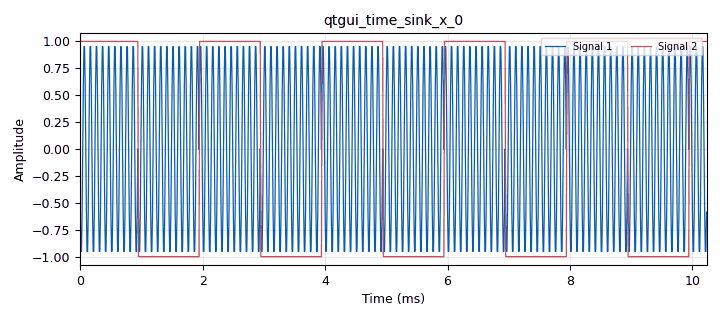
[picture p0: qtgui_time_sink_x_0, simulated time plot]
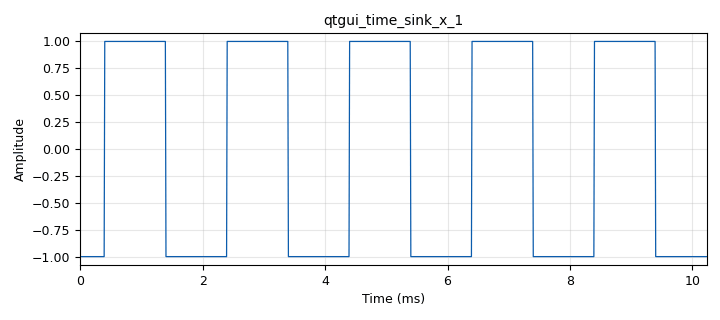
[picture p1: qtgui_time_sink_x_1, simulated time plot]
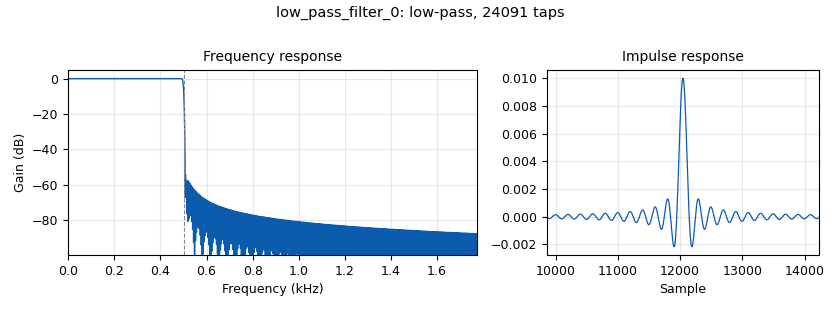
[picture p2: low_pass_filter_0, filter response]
options:
  parameters:
    generate_options: qt_gui
    id: BPSK
    output_language: python
    title: Not titled yet
  states: {}

blocks:
- name: samp_rate
  id: variable
  parameters:
    value: '100000'
  states: {}
- name: analog_sig_source_x_0
  id: analog_sig_source_x
  parameters:
    amp: '1'
    freq: '10000'
    offset: '0'
    phase: '0'
    samp_rate: samp_rate
    type: float
    waveform: analog.GR_SIN_WAVE
  states: {}
- name: analog_sig_source_x_1
  id: analog_sig_source_x
  parameters:
    amp: '2'
    freq: '500'
    offset: '-1'
    phase: '180'
    samp_rate: samp_rate
    type: float
    waveform: analog.GR_SQR_WAVE
  states: {}
- name: blocks_add_const_vxx_0
  id: blocks_add_const_vxx
  parameters:
    const: '-0.5'
    type: float
  states: {}
- name: blocks_multiply_const_vxx_0
  id: blocks_multiply_const_vxx
  parameters:
    const: '2'
    type: float
  states: {}
- name: blocks_multiply_xx_0
  id: blocks_multiply_xx
  parameters:
    type: float
  states: {}
- name: blocks_multiply_xx_1
  id: blocks_multiply_xx
  parameters:
    type: float
  states: {}
- name: blocks_threshold_ff_0
  id: blocks_threshold_ff
  parameters:
    high: '0.0001'
    init: '0'
    low: '-0.0001'
  states: {}
- name: low_pass_filter_0
  id: low_pass_filter
  parameters:
    cutoff_freq: '500'
    decim: '1'
    gain: '1'
    samp_rate: samp_rate
    type: fir_filter_fff
    width: '10'
    win: window.WIN_HAMMING
  states: {}
- name: qtgui_time_sink_x_0
  id: qtgui_time_sink_x
  parameters:
    ctrlpanel: 'True'
    nconnections: '2'
    size: '1024'
    srate: samp_rate
    type: float
  states: {}
- name: qtgui_time_sink_x_1
  id: qtgui_time_sink_x
  parameters:
    size: '1024'
    srate: samp_rate
    type: float
  states: {}

connections:
- [analog_sig_source_x_0, '0', blocks_multiply_xx_0, '0']
- [analog_sig_source_x_0, '0', blocks_multiply_xx_1, '0']
- [analog_sig_source_x_1, '0', blocks_multiply_xx_0, '1']
- [analog_sig_source_x_1, '0', qtgui_time_sink_x_0, '1']
- [blocks_add_const_vxx_0, '0', blocks_multiply_const_vxx_0, '0']
- [blocks_multiply_const_vxx_0, '0', qtgui_time_sink_x_1, '0']
- [blocks_multiply_xx_0, '0', blocks_multiply_xx_1, '1']
- [blocks_multiply_xx_0, '0', qtgui_time_sink_x_0, '0']
- [blocks_multiply_xx_1, '0', low_pass_filter_0, '0']
- [blocks_threshold_ff_0, '0', blocks_add_const_vxx_0, '0']
- [low_pass_filter_0, '0', blocks_threshold_ff_0, '0']

metadata:
  file_format: 1
  grc_version: 3.10.9.2
